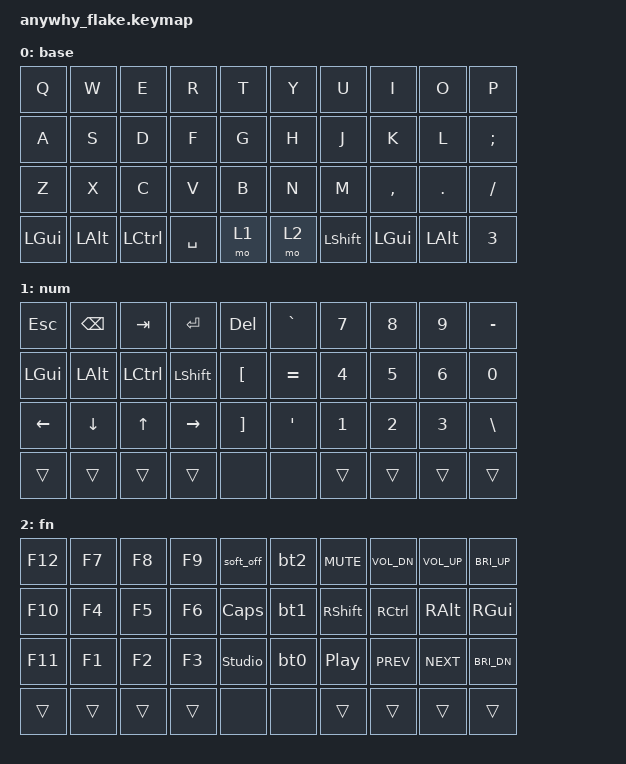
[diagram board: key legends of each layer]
#include <behaviors.dtsi>
#include <dt-bindings/zmk/bt.h>
#include <dt-bindings/zmk/keys.h>

/ {
    combos {
        compatible = "zmk,combos";

        bt_sel_3 {
            bindings = <&bt3>;
            key-positions = <25 15>;
            layers = <2>;
        };

        bt_sel_4 {
            bindings = <&bt4>;
            key-positions = <15 5>;
            layers = <2>;
        };

        combo_enter {
            bindings = <&kp N1>;
            key-positions = <16 17>;
            layers = <0>;
            timeout-ms = <30>;
        };

        combo_enter {
            bindings = <&kp N2>;
            key-positions = <43 44>;
            layers = <0>;
            timeout-ms = <30>;
        };
    };

    macros {
        bt_clr_0: bt_clr_0 {
            compatible = "zmk,behavior-macro";
            #binding-cells = <0>;
            bindings = <&bt BT_SEL 0 &bt BT_CLR>;
            label = "BT_CLR_0";
        };

        bt_clr_1: bt_clr_1 {
            compatible = "zmk,behavior-macro";
            #binding-cells = <0>;
            bindings = <&bt BT_SEL 1 &bt BT_CLR>;
            label = "BT_CLR_1";
        };

        bt_clr_2: bt_clr_2 {
            compatible = "zmk,behavior-macro";
            #binding-cells = <0>;
            bindings = <&bt BT_SEL 2 &bt BT_CLR>;
            label = "BT_CLR_2";
        };

        bt_clr_3: bt_clr_3 {
            compatible = "zmk,behavior-macro";
            #binding-cells = <0>;
            bindings = <&bt BT_SEL 3 &bt BT_CLR>;
            label = "BT_CLR_3";
        };

        bt_clr_4: bt_clr_4 {
            compatible = "zmk,behavior-macro";
            #binding-cells = <0>;
            bindings = <&bt BT_SEL 4 &bt BT_CLR>;
            label = "BT_CLR_4";
        };
    };

    behaviors {
        bt0: bt0 {
            compatible = "zmk,behavior-mod-morph";
            label = "BT0";
            bindings = <&bt BT_SEL 0>, <&bt_clr_0>;

            #binding-cells = <0>;
            mods = <(MOD_LSFT|MOD_RSFT)>;
        };

        bt1: bt1 {
            compatible = "zmk,behavior-mod-morph";
            label = "BT1";
            bindings = <&bt BT_SEL 1>, <&bt_clr_1>;

            #binding-cells = <0>;
            mods = <(MOD_LSFT|MOD_RSFT)>;
        };

        bt2: bt2 {
            compatible = "zmk,behavior-mod-morph";
            label = "BT2";
            bindings = <&bt BT_SEL 2>, <&bt_clr_2>;

            #binding-cells = <0>;
            mods = <(MOD_LSFT|MOD_RSFT)>;
        };

        bt3: bt3 {
            compatible = "zmk,behavior-mod-morph";
            label = "BT3";
            bindings = <&bt BT_SEL 3>, <&bt_clr_3>;

            #binding-cells = <0>;
            mods = <(MOD_LSFT|MOD_RSFT)>;
        };

        bt4: bt4 {
            compatible = "zmk,behavior-mod-morph";
            label = "BT4";
            bindings = <&bt BT_SEL 4>, <&bt_clr_4>;

            #binding-cells = <0>;
            mods = <(MOD_LSFT|MOD_RSFT)>;
        };
    };

    keymap {
        compatible = "zmk,keymap";

        base {
            bindings = <
&kp Q     &kp W     &kp E      &kp R      &kp T     &kp Y   &kp U      &kp I      &kp O     &kp P   
&kp A     &kp S     &kp D      &kp F      &kp G     &kp H   &kp J      &kp K      &kp L     &kp SEMI
&kp Z     &kp X     &kp C      &kp V      &kp B     &kp N   &kp M      &kp COMMA  &kp DOT   &kp FSLH
&kp LGUI  &kp LALT  &kp LCTRL  &kp SPACE  &mo 1     &mo 2   &kp LSHFT  &kp LGUI   &kp LALT  &kp N3
            >;
        };

        num {
            bindings = <
&kp ESC   &kp BACKSPACE  &kp TAB    &kp ENTER  &kp DEL     &kp GRAVE  &kp N7  &kp N8  &kp N9  &kp MINUS
&kp LGUI  &kp LALT       &kp LCTRL  &kp LSHFT  &kp LBKT    &kp EQUAL  &kp N4  &kp N5  &kp N6  &kp N0   
&kp LEFT  &kp DOWN       &kp UP     &kp RIGHT  &kp RBKT    &kp SQT    &kp N1  &kp N2  &kp N3  &kp BSLH 
&trans    &trans         &trans     &trans     &none       &none      &trans  &trans  &trans  &trans
            >;
        };

        fn {
            bindings = <
&kp F12  &kp F7  &kp F8  &kp F9  &soft_off         &bt2   &kp C_MUTE  &kp C_VOL_DN  &kp C_VOL_UP  &kp C_BRI_UP
&kp F10  &kp F4  &kp F5  &kp F6  &kp CAPS          &bt1   &kp RSHFT   &kp RCTRL     &kp RALT      &kp RGUI    
&kp F11  &kp F1  &kp F2  &kp F3  &studio_unlock    &bt0   &kp C_PP    &kp C_PREV    &kp C_NEXT    &kp C_BRI_DN
&trans   &trans  &trans  &trans  &none             &none  &trans      &trans        &trans        &trans
            >;
        };

    };
};
